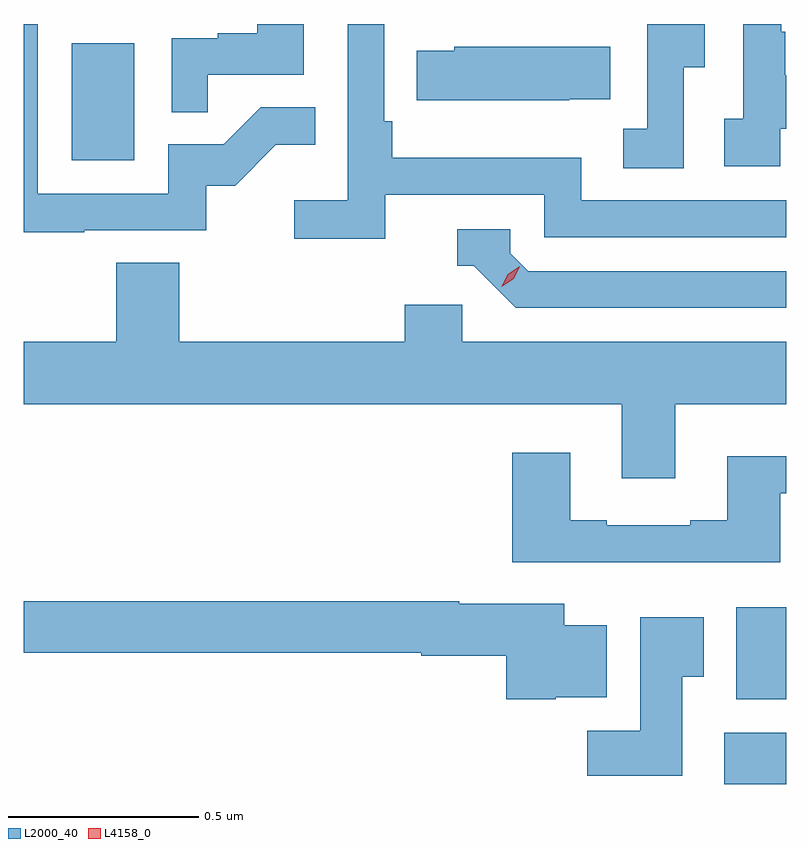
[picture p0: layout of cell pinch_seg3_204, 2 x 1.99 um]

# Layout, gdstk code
import gdstk
lib = gdstk.Library(unit=1e-6, precision=1e-09)
def R(c, l, rs):  # rectangles x0, y0, x1, y1
    for r in rs: c.add(gdstk.rectangle(r[:2], r[2:], *l))
def P(c, l, *ps):  # polygons
    for p in ps: c.add(gdstk.Polygon(p, *l))
L2000_40 = (2000, 40)
L4158_0 = (4158, 0)

pinch_seg3_204 = lib.new_cell('pinch_seg3_204')
R(pinch_seg3_204, L2000_40, [(972.003,729.224,972.166,729.358), (972.035,729.446,972.166,729.688), (970.292,730.86,970.456,731.167)])
P(pinch_seg3_204, L2000_40, [(971.114,730.77),(971.532,730.77),(971.532,730.659),(972.166,730.659),(972.166,730.755),(971.628,730.755),(971.628,730.867),(971.132,730.867),(971.132,730.963),(971.112,730.963),(971.112,731.218),(971.016,731.218),(971.016,730.756),(970.875,730.756),(970.875,730.654),(971.114,730.654)],
  [(970.649,731.085),(970.9,731.085),(970.9,731.218),(970.778,731.218),(970.778,731.194),(970.675,731.194),(970.675,731.181),(970.554,731.181),(970.554,730.987),(970.649,730.987)],
  [(970.325,730.677),(970.644,730.677),(970.644,730.794),(970.72,730.794),(970.827,730.901),(970.931,730.901),(970.931,731),(970.788,731),(970.69,730.902),(970.545,730.902),(970.545,730.773),(970.203,730.773),(970.203,731.218),(970.166,731.218),(970.166,730.672),(970.325,730.672)],
  [(972.15,730.943),(972.166,730.943),(972.166,731.083),(972.163,731.083),(972.163,731.198),(972.153,731.198),(972.153,731.218),(972.054,731.218),(972.054,730.97),(972.003,730.97),(972.003,730.845),(972.15,730.845)],
  [(971.898,731.104),(971.953,731.104),(971.953,731.218),(971.802,731.218),(971.802,730.943),(971.739,730.943),(971.739,730.84),(971.898,730.84)],
  [(971.597,731.021),(971.705,731.021),(971.705,731.158),(971.295,731.158),(971.295,731.148),(971.197,731.148),(971.197,731.018),(971.597,731.018)],
  [(972.166,730.569),(971.49,730.569),(971.442,730.617),(971.442,730.68),(971.303,730.68),(971.303,730.584),(971.346,730.584),(971.457,730.473),(972.166,730.473)],
  [(971.875,730.22),(972.166,730.22),(972.166,730.384),(971.316,730.384),(971.316,730.482),(971.165,730.482),(971.165,730.384),(970.574,730.384),(970.574,730.592),(970.409,730.592),(970.409,730.384),(970.166,730.384),(970.166,730.22),(971.735,730.22),(971.735,730.026),(971.875,730.026)],
  [(972.151,729.987),(972.166,729.987),(972.166,730.084),(972.011,730.084),(972.011,729.916),(971.915,729.916),(971.915,729.903),(971.695,729.903),(971.695,729.916),(971.599,729.916),(971.599,730.093),(971.447,730.093),(971.447,729.806),(972.151,729.806)],
  [(971.562,729.452),(971.695,729.452),(971.695,729.64),(971.584,729.64),(971.584,729.697),(971.308,729.697),(971.308,729.704),(970.166,729.704),(970.166,729.568),(971.208,729.568),(971.208,729.56),(971.432,729.56),(971.432,729.446),(971.562,729.446)],
  [(971.893,729.505),(971.95,729.505),(971.95,729.661),(971.783,729.661),(971.783,729.364),(971.644,729.364),(971.644,729.246),(971.893,729.246)])
P(pinch_seg3_204, L4158_0, [(971.42,730.529),(971.42,730.53),(971.436,730.562),(971.467,730.582),(971.467,730.582),(971.467,730.582),(971.451,730.549),(971.42,730.529)])

lib.write_gds('pinch_seg3_204.gds')
